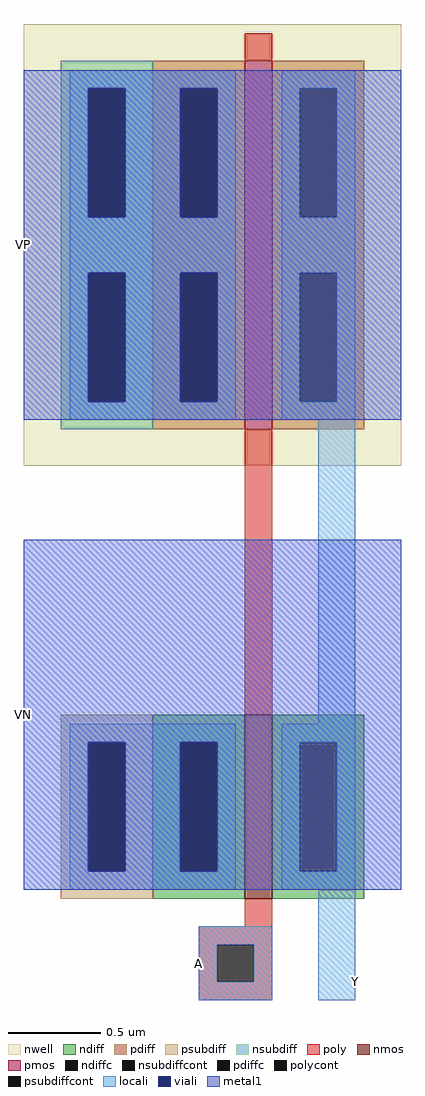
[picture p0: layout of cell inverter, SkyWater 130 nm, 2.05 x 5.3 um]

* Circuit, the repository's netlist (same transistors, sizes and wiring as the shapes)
* NGSPICE file created from /home/madvlsi/Documents/MADVLSI-Final_Project/layout/inverter.ext - technology: sky130A

.subckt home/madvlsi/Documents/MADVLSI-Final_Project/layout/inverter A Y VP VN
X0 Y A VN VN sky130_fd_pr__nfet_01v8 ad=5e+11p pd=3e+06u as=5e+11p ps=3e+06u w=1e+06u l=150000u
X1 Y A VP VP sky130_fd_pr__pfet_01v8 ad=1e+12p pd=5e+06u as=1e+12p ps=5e+06u w=2e+06u l=150000u
.ends

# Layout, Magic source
magic
tech sky130A
<< nwell >>
rect -120 370 85 610
<< nmos >>
rect 0 135 15 235
<< pmos >>
rect 0 390 15 590
<< ndiff >>
rect -50 220 0 235
rect -50 150 -35 220
rect -15 150 0 220
rect -50 135 0 150
rect 15 220 65 235
rect 15 150 30 220
rect 50 150 65 220
rect 15 135 65 150
<< pdiff >>
rect -50 575 0 590
rect -50 505 -35 575
rect -15 505 0 575
rect -50 475 0 505
rect -50 405 -35 475
rect -15 405 0 475
rect -50 390 0 405
rect 15 575 65 590
rect 15 505 30 575
rect 50 505 65 575
rect 15 475 65 505
rect 15 405 30 475
rect 50 405 65 475
rect 15 390 65 405
<< ndiffc >>
rect -35 150 -15 220
rect 30 150 50 220
<< pdiffc >>
rect -35 505 -15 575
rect -35 405 -15 475
rect 30 505 50 575
rect 30 405 50 475
<< psubdiff >>
rect -100 220 -50 235
rect -100 150 -85 220
rect -65 150 -50 220
rect -100 135 -50 150
<< nsubdiff >>
rect -100 575 -50 590
rect -100 505 -85 575
rect -65 505 -50 575
rect -100 475 -50 505
rect -100 405 -85 475
rect -65 405 -50 475
rect -100 390 -50 405
<< psubdiffcont >>
rect -85 150 -65 220
<< nsubdiffcont >>
rect -85 505 -65 575
rect -85 405 -65 475
<< poly >>
rect 0 590 15 605
rect 0 235 15 390
rect 0 120 15 135
rect -25 110 15 120
rect -25 90 -15 110
rect 5 90 15 110
rect -25 80 15 90
<< polycont >>
rect -15 90 5 110
<< locali >>
rect -95 575 -5 585
rect -95 505 -85 575
rect -65 505 -35 575
rect -15 505 -5 575
rect -95 475 -5 505
rect -95 405 -85 475
rect -65 405 -35 475
rect -15 405 -5 475
rect -95 395 -5 405
rect 20 575 60 585
rect 20 505 30 575
rect 50 505 60 575
rect 20 475 60 505
rect 20 405 30 475
rect 50 405 60 475
rect 20 395 60 405
rect 40 230 60 395
rect -95 220 -5 230
rect -95 150 -85 220
rect -65 150 -35 220
rect -15 150 -5 220
rect -95 140 -5 150
rect 20 220 60 230
rect 20 150 30 220
rect 50 150 60 220
rect 20 140 60 150
rect -25 110 15 120
rect -25 90 -15 110
rect 5 90 15 110
rect -25 80 15 90
rect 40 80 60 140
<< viali >>
rect -85 505 -65 575
rect -35 505 -15 575
rect -85 405 -65 475
rect -35 405 -15 475
rect -85 150 -65 220
rect -35 150 -15 220
<< metal1 >>
rect -120 575 85 585
rect -120 505 -85 575
rect -65 505 -35 575
rect -15 505 85 575
rect -120 475 85 505
rect -120 405 -85 475
rect -65 405 -35 475
rect -15 405 85 475
rect -120 395 85 405
rect -120 220 85 330
rect -120 150 -85 220
rect -65 150 -35 220
rect -15 150 85 220
rect -120 140 85 150
<< labels >>
rlabel metal1 -120 235 -120 235 7 VN
port 4 w
rlabel locali -25 100 -25 100 7 A
port 1 w
rlabel locali 60 90 60 90 3 Y
port 2 e
rlabel metal1 -120 490 -120 490 7 VP
port 3 w
<< end >>
